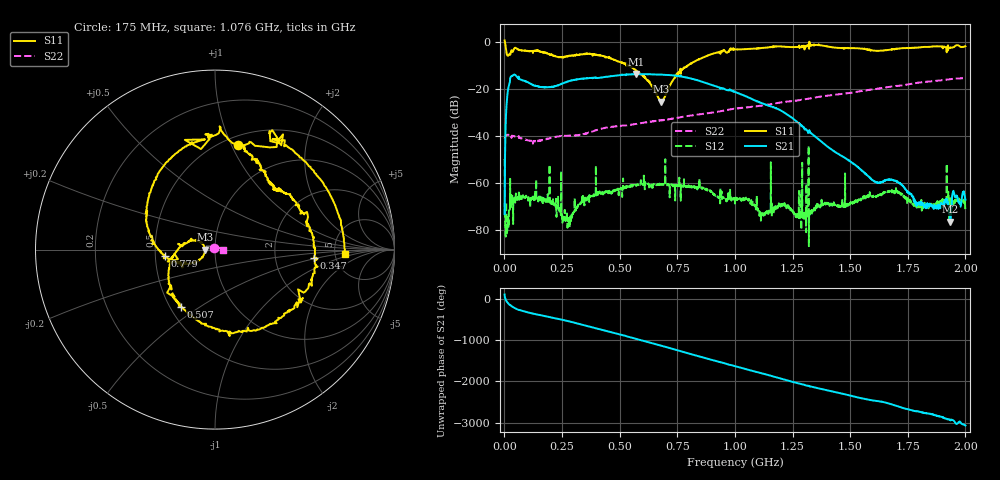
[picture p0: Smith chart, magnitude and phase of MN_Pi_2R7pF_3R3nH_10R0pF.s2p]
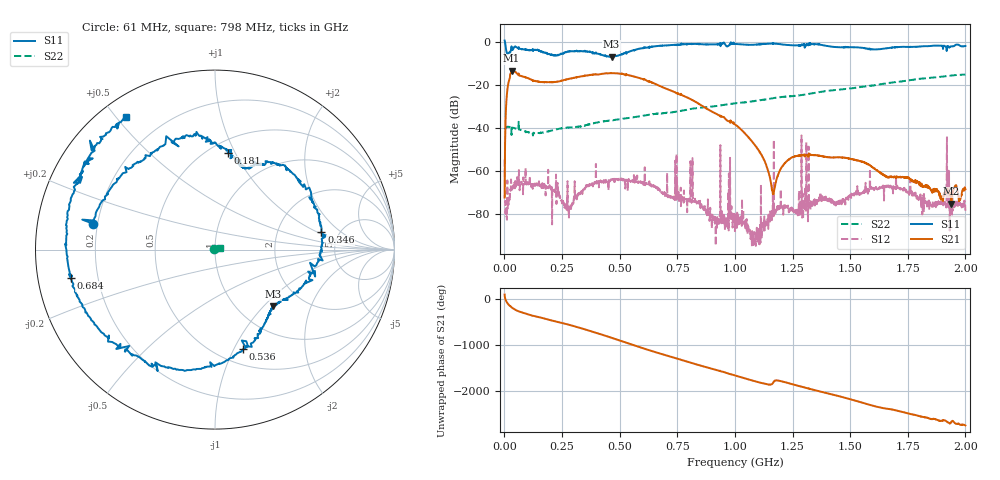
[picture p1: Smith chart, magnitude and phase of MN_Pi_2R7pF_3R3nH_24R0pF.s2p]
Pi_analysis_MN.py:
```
from matplotlib import pyplot as plt
import skrf as rf
from skrf import Network
from pysmithchart import S_PARAMETER

# Data from LibreVNA
PiNetWork1 = Network('MN_Pi_2R7pF_3R3nH_10R0pF.s2p')
PiNetWork2 = Network('MN_Pi_2R7pF_3R3nH_24R0pF.s2p')
PiNetWork3 = Network('MN_Pi_2R7pF_3R3nH_6R8pF.s2p')

# Extract the S11 parameter
S11_Pi1 = PiNetWork1['0.800-1.0 GHz'].s11
S11_Pi2 = PiNetWork2['0.800-1.0 GHz'].s11
S11_Pi3 = PiNetWork3['0.800-1.0 GHz'].s11

# Create the object to plot
fig, ax = plt.subplots(1, 1, figsize=(7, 8))
rf.plotting.smith(ax=ax, draw_labels=True, ref_imm=50.0, chart_type='z')

# Select 900MHz to put a marker in each plot
marker_index = 100
x_val = S11_Pi1.frequency.f_scaled[marker_index]
y_val = S11_Pi1.s_db[marker_index, 0, 0]
x_val
y_val

S11_Pi1.plot_s_smith(m=0, n=0, ax=ax, label='10 pF')
S11_Pi2.plot_s_smith(m=0, n=0, ax=ax, label='24 pF')
S11_Pi3.plot_s_smith(m=0, n=0, ax=ax, label='6.8 pF')

ax.scatter(x_val, y_val, marker='o', color='red', s=50, zorder=5)

ax.legend()
plt.show()
```
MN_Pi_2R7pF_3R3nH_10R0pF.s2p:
# GHZ S RI R 50.000000000000
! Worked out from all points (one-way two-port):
!   2000 points, 1 MHz to 2 GHz, reference 50 ohm
!   highest |S21| = -13.57 dB at 570 MHz (marker M1); lowest = -76.3 dB at 1.935 GHz (marker M2)
!   lowest |S11| = -25.3 dB at 679 MHz (marker M3), VSWR 1.12, Z = 44.8 + j0.029 ohm
!   |S11| at or under -10 dB: 528.9833 MHz to 529.0603 MHz (77.05 kHz wide, 0.0146 % of centre); 538.9 MHz to 794.3 MHz (255.4 MHz wide, 38.3 % of centre)
!   |S22| runs from -43.1 to -15.3 dB; largest |S21 - S12| = 0.21
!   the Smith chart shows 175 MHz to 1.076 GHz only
!   S11 on the Smith chart (normalised r, x): 175 MHz: 0.59, +1.06; 347 MHz: 3.41, -0.44; 507 MHz: 0.57, -0.42; 779 MHz: 0.56, -0.05; 1.076 GHz: 6.17, -0.61
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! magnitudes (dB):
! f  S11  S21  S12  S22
! 1 MHz  0.7  -73.1  -49.7  -40.7
! 175 MHz  -4.5  -19.2  -67.0  -41.4
! 347 MHz  -5.1  -15.4  -69.4  -39.0
! 507 MHz  -8.6  -14.0  -62.4  -35.5
! 570 MHz  -12.0  -13.6  -60.7  -34.8
! 679 MHz  -25.3  -13.8  -60.6  -33.3
! 779 MHz  -11.0  -14.8  -58.3  -31.6
! 1.001 GHz  -3.1  -21.2  -67.1  -28.3
! 1.076 GHz  -2.8  -24.3  -68.1  -27.5
! 1.935 GHz  -2.4  -76.3  -70.4  -15.7
! 2 GHz  -1.8  -67.0  -71.0  -15.3
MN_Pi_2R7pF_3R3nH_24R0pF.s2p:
# GHZ S RI R 50.000000000000
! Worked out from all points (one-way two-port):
!   2000 points, 1 MHz to 2 GHz, reference 50 ohm
!   highest |S21| = -13.43 dB at 31 MHz (marker M1); lowest = -75.3 dB at 1.939 GHz (marker M2)
!   lowest |S11| = -6.9 dB at 465 MHz (marker M3), VSWR 2.64, Z = 71.3 - j56.4 ohm
!   |S11| at or under -10 dB: nowhere
!   |S22| runs from -43.6 to -15.2 dB; largest |S21 - S12| = 0.21
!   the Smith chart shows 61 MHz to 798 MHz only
!   S11 on the Smith chart (normalised r, x): 61 MHz: 0.18, +0.10; 181 MHz: 0.61, +0.94; 346 MHz: 3.64, +1.12; 536 MHz: 0.65, -1.09; 684 MHz: 0.10, -0.10; 798 MHz: 0.07, +0.53
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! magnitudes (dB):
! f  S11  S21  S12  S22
! 1 MHz  0.7  -72.5  -54.7  -40.8
! 31 MHz  -2.1  -13.4  -68.8  -43.3
! 61 MHz  -3.1  -15.5  -66.7  -40.6
! 181 MHz  -5.3  -18.8  -67.6  -41.8
! 346 MHz  -4.4  -15.9  -68.6  -39.0
! 465 MHz  -6.9  -14.5  -64.7  -36.5
! 536 MHz  -4.8  -15.4  -64.4  -35.4
! 684 MHz  -1.7  -21.0  -69.9  -33.3
! 798 MHz  -1.0  -26.1  -73.2  -31.4
! 1.001 GHz  -0.9  -38.5  -83.3  -28.6
! 1.939 GHz  -2.0  -75.3  -77.8  -15.7
! 2 GHz  -1.9  -68.6  -78.7  -15.2
